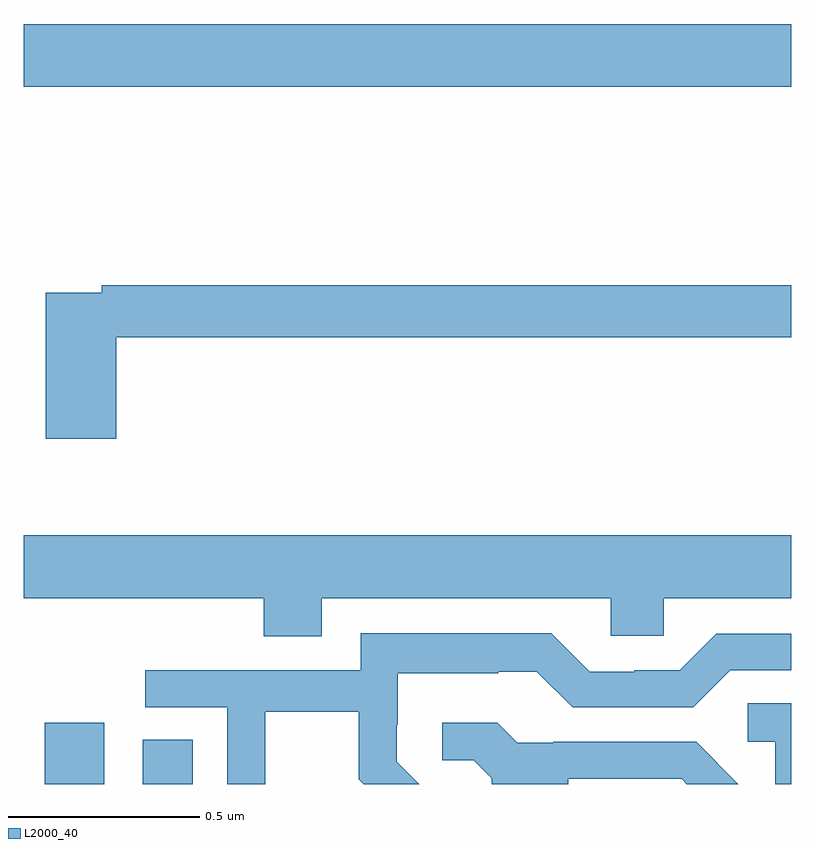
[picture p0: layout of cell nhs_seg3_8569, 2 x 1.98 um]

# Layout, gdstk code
import gdstk
lib = gdstk.Library(unit=1e-6, precision=1e-09)
def R(c, l, rs):  # rectangles x0, y0, x1, y1
    for r in rs: c.add(gdstk.rectangle(r[:2], r[2:], *l))
def P(c, l, *ps):  # polygons
    for p in ps: c.add(gdstk.Polygon(p, *l))
L2000_40 = (2000, 40)

nhs_seg3_8569 = lib.new_cell('nhs_seg3_8569')
R(nhs_seg3_8569, L2000_40, [(217.055,732.4,217.21,732.559), (217.31,732.4,217.441,732.515), (217,734.216,219,734.38)])
P(nhs_seg3_8569, L2000_40, [(217.241,733.564),(219,733.564),(219,733.7),(217.204,733.7),(217.204,733.68),(217.058,733.68),(217.058,733.299),(217.241,733.299)],
  [(217.777,732.884),(218.529,732.884),(218.529,732.786),(218.667,732.786),(218.667,732.884),(219,732.884),(219,733.048),(217,733.048),(217,732.884),(217.625,732.884),(217.625,732.785),(217.777,732.785)],
  [(217.629,732.588),(217.873,732.588),(217.873,732.413),(217.886,732.4),(218.03,732.4),(217.972,732.458),(217.972,732.555),(217.974,732.555),(217.974,732.689),(218.237,732.689),(218.237,732.693),(218.337,732.693),(218.43,732.6),(218.745,732.6),(218.841,732.696),(219,732.696),(219,732.792),(218.805,732.792),(218.709,732.696),(218.591,732.696),(218.591,732.693),(218.475,732.693),(218.375,732.793),(217.878,732.793),(217.878,732.696),(217.317,732.696),(217.317,732.6),(217.53,732.6),(217.53,732.4),(217.629,732.4)],
  [(219,732.611),(218.886,732.611),(218.886,732.51),(218.958,732.51),(218.958,732.4),(219,732.4)],
  [(218.419,732.414),(218.714,732.414),(218.728,732.4),(218.862,732.4),(218.752,732.51),(218.38,732.51),(218.38,732.507),(218.286,732.507),(218.234,732.559),(218.091,732.559),(218.091,732.462),(218.172,732.462),(218.219,732.415),(218.219,732.4),(218.419,732.4)])

lib.write_gds('nhs_seg3_8569.gds')
